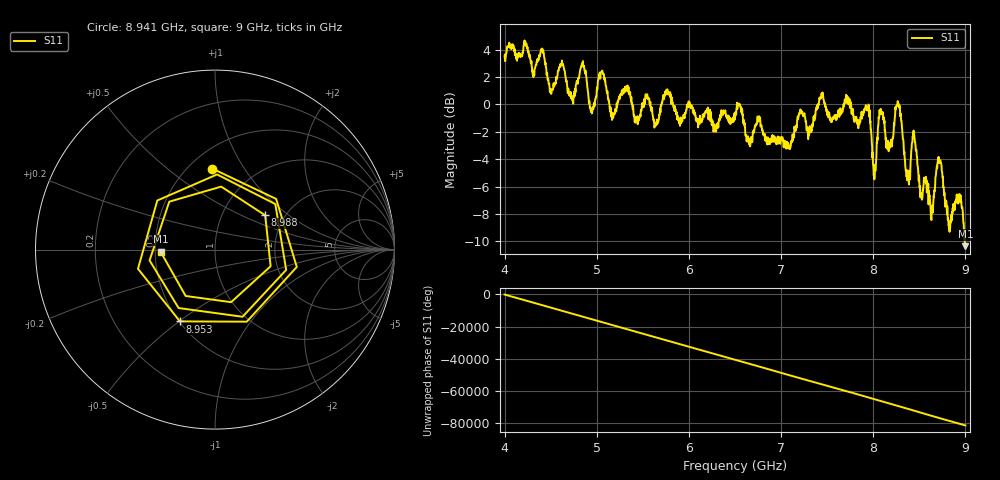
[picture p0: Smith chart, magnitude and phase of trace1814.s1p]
! Created with skrf 1.8.0 (http://scikit-rf.org).
# Hz S RI R 50.0
!freq ReS11 ImS11
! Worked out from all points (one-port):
!   1601 points, 4 GHz to 9 GHz, reference 50 ohm
!   lowest |S11| = -10.4 dB at 9 GHz (marker M1), VSWR 1.87, Z = 26.7 - j0.687 ohm
!   |S11| at or under -10 dB: 8.992259 GHz to end of sweep
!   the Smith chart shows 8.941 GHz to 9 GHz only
!   S11 on the Smith chart (normalised r, x): 8.941 GHz: 0.65, +0.73; 8.953 GHz: 0.50, -0.50; 8.988 GHz: 1.59, +0.69; 9 GHz: 0.53, -0.01
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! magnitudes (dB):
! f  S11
! 4 GHz  3.5
! 4.406 GHz  4.1
! 4.512 GHz  1.1
! 4.625 GHz  2.9
! 4.731 GHz  0.5
! 4.856 GHz  2.7
! 4.941 GHz  -0.5
! 5.05 GHz  2.4
! 5.166 GHz  -1.1
! 5.25 GHz  0.6
! 5.875 GHz  -0.9
! 6.5 GHz  -0.9
! 7.125 GHz  -2.2
! 7.75 GHz  0.2
! 7.938 GHz  -0.2
! 8.012 GHz  -5.5
! 8.081 GHz  -0.3
! 8.178 GHz  -2.9
! 8.266 GHz  0.2
! 8.375 GHz  -5.5
! 8.444 GHz  -2.2
! 8.625 GHz  -8.2
! 8.716 GHz  -4.3
! 8.825 GHz  -9.0
! 8.941 GHz  -6.9
! 8.953 GHz  -7.0
! 8.988 GHz  -9.4
! 9 GHz  -10.4
